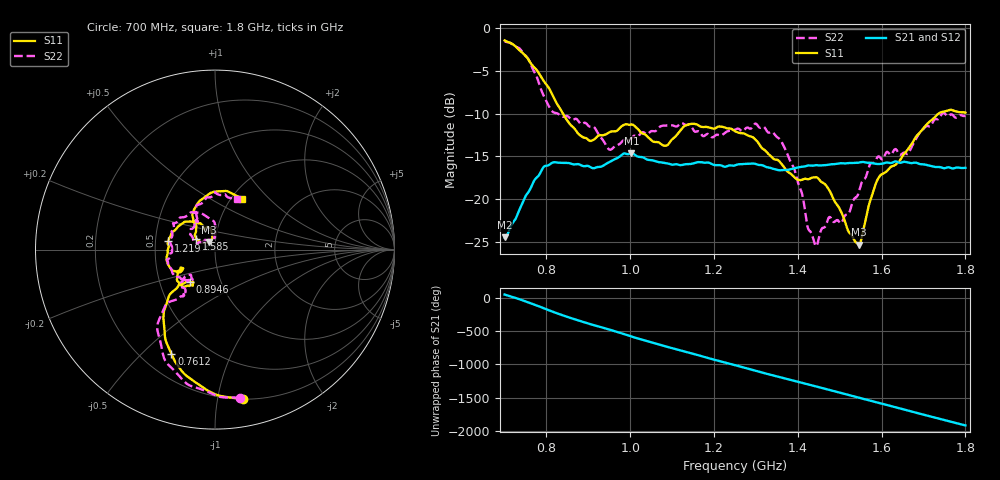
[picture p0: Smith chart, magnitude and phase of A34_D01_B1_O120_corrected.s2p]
! Created with skrf 1.9.0 (http://scikit-rf.org).
# Hz S RI R 50.0
!freq ReS11 ImS11 ReS21 ImS21 ReS12 ImS12 ReS22 ImS22
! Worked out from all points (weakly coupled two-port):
!   1601 points, 700 MHz to 1.8 GHz, reference 50 ohm
!   highest |S21| = -14.65 dB at 1.002 GHz (marker M1); lowest = -24.5 dB at 700 MHz (marker M2)
!   lowest |S11| = -25.3 dB at 1.546 GHz (marker M3), VSWR 1.11, Z = 46.6 + j4.01 ohm
!   |S11| at or under -10 dB: 839.2 MHz to 1.736 GHz (896.4 MHz wide, 69.6 % of centre)
!   |S22| runs from -25.5 to -1.5 dB; largest |S21 - S12| = 0.0037
!   S11 on the Smith chart (normalised r, x): 700 MHz: 0.20, -1.19; 761.2 MHz: 0.32, -0.62; 894.6 MHz: 0.71, -0.27; 1.219 GHz: 0.58, +0.06; 1.585 GHz: 0.81, +0.10; 1.8 GHz: 1.12, +0.70
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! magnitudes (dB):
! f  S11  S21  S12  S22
! 700 MHz  -1.4  -24.5  -24.3  -1.5
! 761.2 MHz  -4.0  -18.8  -18.7  -4.1
! 812.1 MHz  -7.6  -15.8  -15.8  -9.6
! 883.6 MHz  -12.6  -16.1  -16.0  -11.2
! 894.6 MHz  -12.9  -16.1  -16.2  -11.1
! 950.9 MHz  -12.2  -15.6  -15.6  -14.2
! 1.002 GHz  -11.3  -14.6  -14.8  -12.9
! 1.067 GHz  -13.4  -15.7  -15.6  -11.7
! 1.219 GHz  -11.5  -16.1  -16.1  -12.5
! 1.25 GHz  -12.1  -16.1  -16.0  -11.9
! 1.359 GHz  -15.7  -16.6  -16.6  -13.1
! 1.392 GHz  -17.5  -16.4  -16.4  -16.6
! 1.434 GHz  -17.5  -16.1  -16.1  -24.1
! 1.444 GHz  -17.4  -16.0  -16.0  -25.5
! 1.475 GHz  -18.9  -16.0  -16.0  -22.1
! 1.504 GHz  -21.6  -15.8  -15.8  -22.8
! 1.546 GHz  -25.3  -15.7  -15.7  -19.2
! 1.585 GHz  -18.4  -15.9  -15.9  -15.6
! 1.617 GHz  -16.5  -15.7  -15.7  -14.6
! 1.663 GHz  -14.2  -15.7  -15.7  -14.7
! 1.735 GHz  -10.0  -16.2  -16.3  -10.7
! 1.8 GHz  -9.9  -16.3  -16.3  -10.3
